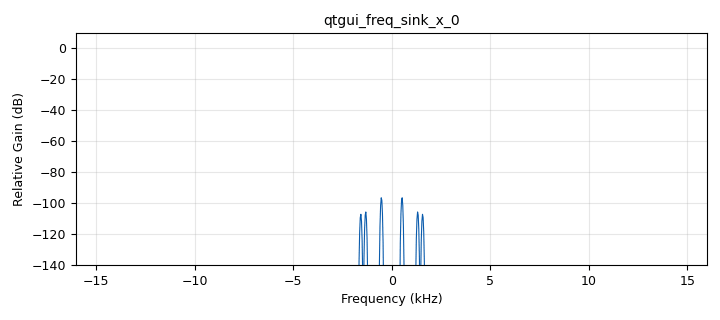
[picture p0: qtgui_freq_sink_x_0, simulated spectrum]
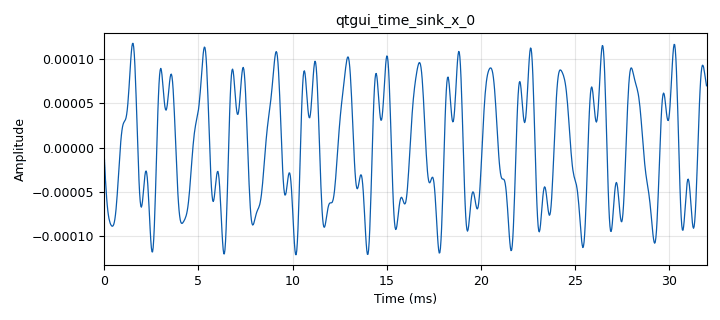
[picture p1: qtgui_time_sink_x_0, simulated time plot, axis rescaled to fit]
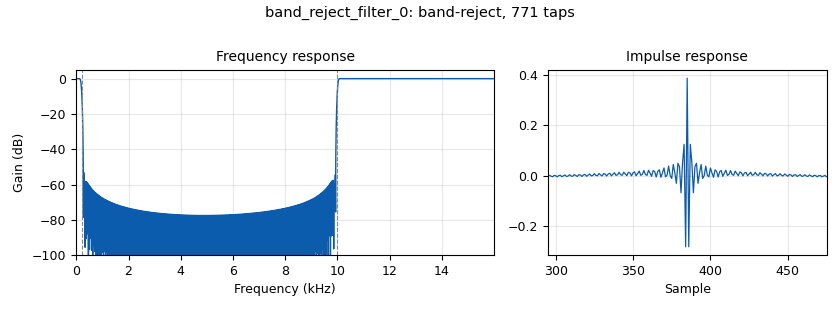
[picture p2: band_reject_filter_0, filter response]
options:
  parameters:
    author: Rachit Garg
    description: Filter out frequencies from C Major tone.
    generate_options: qt_gui
    id: cmajor
    output_language: python
    title: C Major tone (Band Reject Filter)
  states: {}

blocks:
- name: high_cutoff
  id: variable_qtgui_entry
  parameters:
    type: real
    value: 10e3
  states: {}
- name: low_cutoff
  id: variable_qtgui_entry
  parameters:
    type: real
    value: '200'
  states: {}
- name: samp_rate
  id: variable
  parameters:
    value: '32000'
  states: {}
- name: transition_width
  id: variable_qtgui_entry
  parameters:
    type: int
    value: '100'
  states: {}
- name: analog_sig_source_x_0
  id: analog_sig_source_x
  parameters:
    amp: '0.1'
    freq: '523.25'
    offset: '0'
    phase: '0'
    samp_rate: samp_rate
    type: float
    waveform: analog.GR_COS_WAVE
  states: {}
- name: analog_sig_source_x_0_0
  id: analog_sig_source_x
  parameters:
    amp: '0.1'
    freq: '1318.5'
    offset: '0'
    phase: '0'
    samp_rate: samp_rate
    type: float
    waveform: analog.GR_COS_WAVE
  states: {}
- name: analog_sig_source_x_0_1
  id: analog_sig_source_x
  parameters:
    amp: '0.1'
    freq: '1568'
    offset: '0'
    phase: '0'
    samp_rate: samp_rate
    type: float
    waveform: analog.GR_COS_WAVE
  states: {}
- name: audio_sink_0
  id: audio_sink
  parameters:
    samp_rate: samp_rate
  states: {}
- name: band_reject_filter_0
  id: band_reject_filter
  parameters:
    decim: '1'
    gain: '1'
    high_cutoff_freq: high_cutoff
    low_cutoff_freq: low_cutoff
    samp_rate: samp_rate
    type: fir_filter_fff
    width: transition_width
    win: window.WIN_HAMMING
  states: {}
- name: blocks_add_xx_0
  id: blocks_add_xx
  parameters:
    num_inputs: '3'
    type: float
  states: {}
- name: qtgui_freq_sink_x_0
  id: qtgui_freq_sink_x
  parameters:
    bw: samp_rate
    fc: '0'
    fftsize: '1024'
    type: float
  states: {}
- name: qtgui_time_sink_x_0
  id: qtgui_time_sink_x
  parameters:
    size: '1024'
    srate: samp_rate
    type: float
  states: {}

connections:
- [analog_sig_source_x_0, '0', blocks_add_xx_0, '0']
- [analog_sig_source_x_0_0, '0', blocks_add_xx_0, '1']
- [analog_sig_source_x_0_1, '0', blocks_add_xx_0, '2']
- [band_reject_filter_0, '0', audio_sink_0, '0']
- [band_reject_filter_0, '0', qtgui_freq_sink_x_0, '0']
- [band_reject_filter_0, '0', qtgui_time_sink_x_0, '0']
- [blocks_add_xx_0, '0', band_reject_filter_0, '0']

metadata:
  file_format: 1
  grc_version: 3.10.7.0
